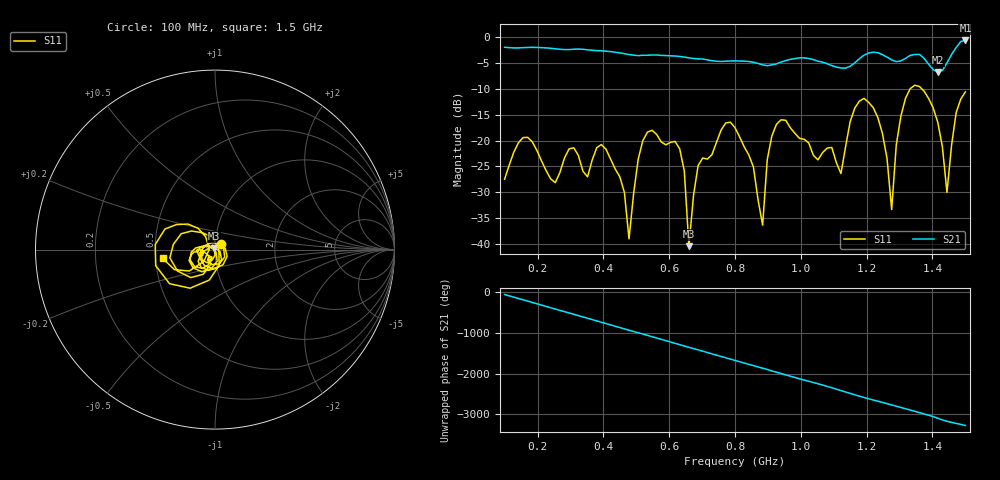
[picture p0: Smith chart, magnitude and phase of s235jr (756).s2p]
! NanoVNA-App
! Date: 2025-09-25 15:10:03
! Start: 100MHz Stop: 1,5GHz Points: 101
! S-Parameter data: F S11 S21 S12 S22
# Hz S RI R 50
!  Frequency  S11_Real  S11_Imag  S21_Real  S21_Imag  S12_Real  S12_Imag  S22_Real  S22_Imag
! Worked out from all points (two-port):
!   101 points, 100 MHz to 1.5 GHz, reference 50 ohm
!   highest |S21| = -0.65 dB at 1.5 GHz (marker M1); lowest = -6.8 dB at 1.416 GHz (marker M2)
!   |S21| within 3 dB of the highest: start of sweep to 614.8 MHz; 1.189 GHz to 1.255 GHz (66.5 MHz wide, 5.44 % of centre) (the widest 2 of 4)
!   lowest |S11| = -40.4 dB at 660 MHz (marker M3), VSWR 1.02, Z = 49.3 + j0.604 ohm
!   |S11| at or under -10 dB: start of sweep to 1.332 GHz; 1.367 GHz to end of sweep
!   S12 and S22 are empty: the file has one direction only
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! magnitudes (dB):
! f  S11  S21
! 100 MHz  -27.5  -2.0
! 156 MHz  -19.4  -2.0
! 338 MHz  -25.9  -2.3
! 408 MHz  -21.7  -2.7
! 478 MHz  -39.0  -3.4
! 520 MHz  -20.0  -3.5
! 576 MHz  -20.3  -3.5
! 632 MHz  -21.6  -3.7
! 660 MHz  -40.4  -4.0
! 688 MHz  -24.8  -4.2
! 800 MHz  -17.5  -4.6
! 884 MHz  -36.4  -5.4
! 926 MHz  -16.9  -5.2
! 1.038 GHz  -22.8  -4.4
! 1.122 GHz  -26.4  -6.0
! 1.192 GHz  -11.8  -3.5
! 1.248 GHz  -18.7  -3.4
! 1.276 GHz  -33.3  -4.4
! 1.332 GHz  -10.0  -3.6
! 1.416 GHz  -16.4  -6.8
! 1.444 GHz  -30.0  -5.0
! 1.5 GHz  -10.6  -0.6
